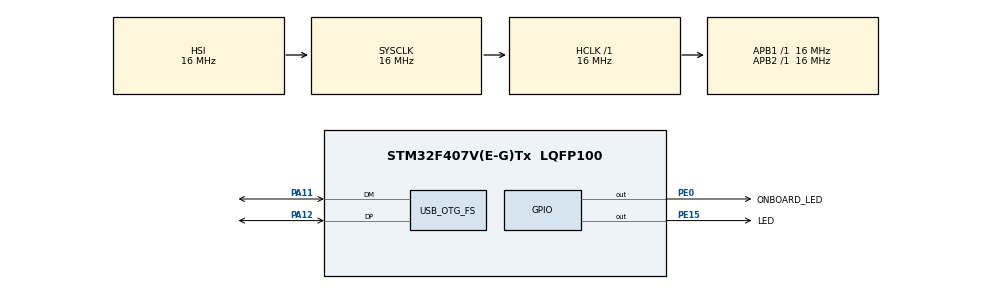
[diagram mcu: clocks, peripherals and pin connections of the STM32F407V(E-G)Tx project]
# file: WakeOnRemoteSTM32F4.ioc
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Mcu.Family=STM32F4
Mcu.Name=STM32F407V(E-G)Tx
Mcu.Package=LQFP100
NVIC.OTG_FS_IRQn=true\:0\:0\:false\:false\:true\:false\:true\:true
NVIC.PriorityGroup=NVIC_PRIORITYGROUP_4
PA11.Mode=Device_Only
PA11.Signal=USB_OTG_FS_DM
PA12.Mode=Device_Only
PA12.Signal=USB_OTG_FS_DP
PA13.Mode=Serial_Wire
PA13.Signal=SYS_JTMS-SWDIO
PA14.Mode=Serial_Wire
PA14.Signal=SYS_JTCK-SWCLK
PE0.GPIO_Label=ONBOARD_LED
PE0.Signal=GPIO_Output
PE15.GPIO_Label=LED
PE15.Signal=GPIO_Output
PH0-OSC_IN.Mode=HSE-External-Oscillator
PH0-OSC_IN.Signal=RCC_OSC_IN
PH1-OSC_OUT.Mode=HSE-External-Oscillator
PH1-OSC_OUT.Signal=RCC_OSC_OUT
ProjectManager.HeapSize=0x200
ProjectManager.StackSize=0x400
ProjectManager.TargetToolchain=STM32CubeIDE
RCC.48MHZClocksFreq_Value=48000000
RCC.AHBFreq_Value=16000000
RCC.APB1Freq_Value=16000000
RCC.APB1TimFreq_Value=16000000
RCC.APB2Freq_Value=16000000
RCC.APB2TimFreq_Value=16000000
RCC.CortexFreq_Value=16000000
RCC.HCLKFreq_Value=16000000
RCC.HSE_VALUE=8000000
RCC.HSI_VALUE=16000000
RCC.LSE_VALUE=32768
RCC.PLLM=4
RCC.PLLN=72
RCC.PLLQ=3
RCC.SYSCLKFreq_VALUE=16000000
RCC.VCOOutputFreq_Value=144000000
USB_DEVICE.CLASS_NAME_FS=HID
USB_DEVICE.PRODUCT_STRING_HID_FS=STM32 Keyboard
USB_DEVICE.VirtualMode-HID_FS=Hid
USB_DEVICE.VirtualModeFS=Hid_FS
USB_OTG_FS.VirtualMode=Device_Only
VP_USB_DEVICE_VS_USB_DEVICE_HID_FS.Mode=HID_FS
board=custom

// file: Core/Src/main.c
/* USER CODE BEGIN Header */
/**
  ******************************************************************************
  * @file           : main.c
  * @brief          : Main program body
  ******************************************************************************
  * @attention
  *
  * Copyright (c) 2023 STMicroelectronics.
  * All rights reserved.
  *
  * This software is licensed under terms that can be found in the LICENSE file
  * in the root directory of this software component.
  * If no LICENSE file comes with this software, it is provided AS-IS.
  *
  ******************************************************************************
  */
/* USER CODE END Header */
#include "main.h"
#include "usb_device.h"

/* USER CODE BEGIN Includes */
#include "usbd_hid.h"
/* USER CODE END Includes */

void SystemClock_Config(void);
static void MX_GPIO_Init(void);
/* USER CODE BEGIN PFP */
void sendPassword();
/* USER CODE END PFP */

/* USER CODE BEGIN 0 */
extern USBD_HandleTypeDef hUsbDeviceFS;

typedef struct{
	uint8_t MODIFIER;
	uint8_t RESERVED;
	uint8_t KEYCODE1;
	uint8_t KEYCODE2;
	uint8_t KEYCODE3;
	uint8_t KEYCODE4;
	uint8_t KEYCODE5;
	uint8_t KEYCODE6;
} keyboardHID;

keyboardHID keyboardhid = {0, 0, 0, 0, 0, 0, 0, 0};

// If boot equals 0 will boot Ubuntu, else if it is 1, will boot on windows
uint8_t boot = 1;

/* USER CODE END 0 */

int main(void)
{

  /* MCU Configuration--------------------------------------------------------*/

  /* Reset of all peripherals, Initializes the Flash interface and the Systick. */
  HAL_Init();

  /* Configure the system clock */
  SystemClock_Config();

  /* Initialize all configured peripherals */
  MX_GPIO_Init();
  MX_USB_DEVICE_Init();

  /* Infinite loop */
  while (1)
  {

    /* USER CODE BEGIN 3 */
	  HAL_GPIO_TogglePin(ONBOARD_LED_GPIO_Port, ONBOARD_LED_Pin);
	  HAL_Delay(2000);
	  if(boot == 0){
		  // Sends ENTER
		  keyboardhid.KEYCODE1 = 0x28;
		  USBD_HID_SendReport(&hUsbDeviceFS, &keyboardhid, sizeof(keyboardhid));
		  HAL_Delay(50);
		  keyboardhid.KEYCODE1 = 0x00;
		  USBD_HID_SendReport(&hUsbDeviceFS, &keyboardhid, sizeof(keyboardhid));
		  HAL_Delay(1000);
		  boot = 2;
	  }
	  else if(boot == 1){
		  // Sends two DOWN ARROW and ENTER
		  keyboardhid.KEYCODE1 = 0x51;
		  USBD_HID_SendReport(&hUsbDeviceFS, &keyboardhid, sizeof(keyboardhid));
		  HAL_Delay(50);
		  keyboardhid.KEYCODE1 = 0x00;
		  USBD_HID_SendReport(&hUsbDeviceFS, &keyboardhid, sizeof(keyboardhid));
		  HAL_Delay(100);
		  keyboardhid.KEYCODE1 = 0x51;
		  USBD_HID_SendReport(&hUsbDeviceFS, &keyboardhid, sizeof(keyboardhid));
		  HAL_Delay(50);
		  keyboardhid.KEYCODE1 = 0x00;
		  USBD_HID_SendReport(&hUsbDeviceFS, &keyboardhid, sizeof(keyboardhid));
		  HAL_Delay(100);
		  keyboardhid.KEYCODE1 = 0x28;
		  USBD_HID_SendReport(&hUsbDeviceFS, &keyboardhid, sizeof(keyboardhid));
		  HAL_Delay(50);
		  keyboardhid.KEYCODE1 = 0x00;
		  USBD_HID_SendReport(&hUsbDeviceFS, &keyboardhid, sizeof(keyboardhid));
		  HAL_Delay(1000);
		  boot = 2;

	  }
  }
  /* USER CODE END 3 */
}

void SystemClock_Config(void)
{
  RCC_OscInitTypeDef RCC_OscInitStruct = {0};
  RCC_ClkInitTypeDef RCC_ClkInitStruct = {0};

  /** Configure the main internal regulator output voltage
  */
  __HAL_RCC_PWR_CLK_ENABLE();
  __HAL_PWR_VOLTAGESCALING_CONFIG(PWR_REGULATOR_VOLTAGE_SCALE1);

  /** Initializes the RCC Oscillators according to the specified parameters
  * in the RCC_OscInitTypeDef structure.
  */
  RCC_OscInitStruct.OscillatorType = RCC_OSCILLATORTYPE_HSI|RCC_OSCILLATORTYPE_HSE;
  RCC_OscInitStruct.HSEState = RCC_HSE_ON;
  RCC_OscInitStruct.HSIState = RCC_HSI_ON;
  RCC_OscInitStruct.HSICalibrationValue = RCC_HSICALIBRATION_DEFAULT;
  RCC_OscInitStruct.PLL.PLLState = RCC_PLL_ON;
  RCC_OscInitStruct.PLL.PLLSource = RCC_PLLSOURCE_HSE;
  RCC_OscInitStruct.PLL.PLLM = 4;
  RCC_OscInitStruct.PLL.PLLN = 72;
  RCC_OscInitStruct.PLL.PLLP = RCC_PLLP_DIV2;
  RCC_OscInitStruct.PLL.PLLQ = 3;
  if (HAL_RCC_OscConfig(&RCC_OscInitStruct) != HAL_OK)
  {
    Error_Handler();
  }

  /** Initializes the CPU, AHB and APB buses clocks
  */
  RCC_ClkInitStruct.ClockType = RCC_CLOCKTYPE_HCLK|RCC_CLOCKTYPE_SYSCLK
                              |RCC_CLOCKTYPE_PCLK1|RCC_CLOCKTYPE_PCLK2;
  RCC_ClkInitStruct.SYSCLKSource = RCC_SYSCLKSOURCE_HSI;
  RCC_ClkInitStruct.AHBCLKDivider = RCC_SYSCLK_DIV1;
  RCC_ClkInitStruct.APB1CLKDivider = RCC_HCLK_DIV1;
  RCC_ClkInitStruct.APB2CLKDivider = RCC_HCLK_DIV1;

  if (HAL_RCC_ClockConfig(&RCC_ClkInitStruct, FLASH_LATENCY_0) != HAL_OK)
  {
    Error_Handler();
  }
}

static void MX_GPIO_Init(void)
{
  GPIO_InitTypeDef GPIO_InitStruct = {0};

  /* GPIO Ports Clock Enable */
  __HAL_RCC_GPIOH_CLK_ENABLE();
  __HAL_RCC_GPIOE_CLK_ENABLE();
  __HAL_RCC_GPIOA_CLK_ENABLE();

  /*Configure GPIO pin Output Level */
  HAL_GPIO_WritePin(GPIOE, LED_Pin|ONBOARD_LED_Pin, GPIO_PIN_RESET);

  /*Configure GPIO pins : LED_Pin ONBOARD_LED_Pin */
  GPIO_InitStruct.Pin = LED_Pin|ONBOARD_LED_Pin;
  GPIO_InitStruct.Mode = GPIO_MODE_OUTPUT_PP;
  GPIO_InitStruct.Pull = GPIO_NOPULL;
  GPIO_InitStruct.Speed = GPIO_SPEED_FREQ_LOW;
  HAL_GPIO_Init(GPIOE, &GPIO_InitStruct);

}

void Error_Handler(void)
{
  __disable_irq();
  while (1)
  {
  }
}
